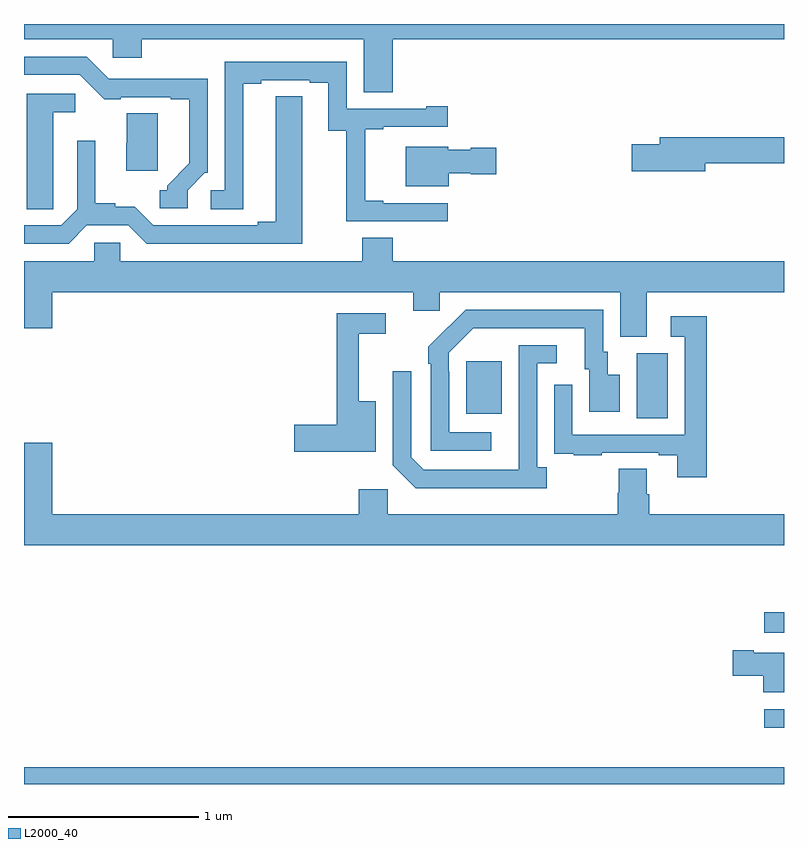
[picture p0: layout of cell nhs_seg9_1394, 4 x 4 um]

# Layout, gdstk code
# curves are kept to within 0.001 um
import gdstk
lib = gdstk.Library(unit=1e-6, precision=1e-09)
def R(c, l, rs):  # rectangles x0, y0, x1, y1
    for r in rs: c.add(gdstk.rectangle(r[:2], r[2:], *l))
def P(c, l, *ps):  # polygons
    for p in ps: c.add(gdstk.Polygon(p, *l))
L2000_40 = (2000, 40)

nhs_seg9_1394 = lib.new_cell('nhs_seg9_1394')
R(nhs_seg9_1394, L2000_40, [(189,1192.5,193,1192.588), (192.897,1192.797,193,1192.893), (192.897,1193.295,193,1193.404), (192.224,1194.424,192.388,1194.768), (191.327,1194.449,191.515,1194.724)])
P(nhs_seg9_1394, L2000_40, [(189,1196.42),(189.468,1196.42),(189.468,1196.322),(189.62,1196.322),(189.62,1196.42),(190.787,1196.42),(190.787,1196.14),(190.94,1196.14),(190.94,1196.42),(193,1196.42),(193,1196.5),(189,1196.5)],
  [(189.861,1195.626),(189.951,1195.716),(189.966,1195.716),(189.966,1196.213),(189.703,1196.213),(189.703,1196.211),(189.447,1196.211),(189.33,1196.328),(189,1196.328),(189,1196.232),(189.294,1196.232),(189.422,1196.104),(189.508,1196.104),(189.508,1196.115),(189.773,1196.115),(189.773,1196.103),(189.869,1196.103),(189.869,1195.766),(189.753,1195.65),(189.753,1195.626),(189.714,1195.626),(189.714,1195.53),(189.861,1195.53)],
  [(191.23,1195.557),(190.891,1195.557),(190.891,1195.57),(190.796,1195.57),(190.796,1195.947),(190.891,1195.947),(190.891,1195.959),(191.23,1195.959),(191.23,1196.068),(191.117,1196.068),(191.117,1196.055),(190.698,1196.055),(190.698,1196.301),(190.056,1196.301),(190.056,1195.626),(189.984,1195.626),(189.984,1195.525),(190.153,1195.525),(190.153,1196.185),(190.249,1196.185),(190.249,1196.205),(190.505,1196.205),(190.505,1196.19),(190.601,1196.19),(190.601,1195.939),(190.696,1195.939),(190.696,1195.461),(191.23,1195.461)],
  [(189.153,1195.633),(189.154,1195.633),(189.154,1196.036),(189.271,1196.036),(189.271,1196.133),(189.014,1196.133),(189.014,1195.525),(189.153,1195.525)],
  [(189.331,1195.44),(189.549,1195.44),(189.645,1195.344),(190.465,1195.344),(190.464,1196.12),(190.325,1196.12),(190.325,1195.46),(190.229,1195.46),(190.229,1195.44),(189.681,1195.44),(189.584,1195.538),(189.48,1195.538),(189.48,1195.556),(189.376,1195.556),(189.376,1195.885),(189.279,1195.885),(189.279,1195.524),(189.195,1195.44),(189,1195.44),(189,1195.344),(189.235,1195.344)],
  [(189.703,1196.03),(189.541,1196.03),(189.541,1195.872),(189.539,1195.872),(189.539,1195.728),(189.703,1195.728)],
  [(192.586,1195.768),(193,1195.768),(193,1195.904),(192.347,1195.904),(192.347,1195.868),(192.198,1195.868),(192.198,1195.726),(192.586,1195.726)],
  [(191.236,1195.715),(191.352,1195.715),(191.352,1195.708),(191.485,1195.708),(191.485,1195.85),(191.352,1195.85),(191.352,1195.837),(191.232,1195.837),(191.232,1195.855),(191.009,1195.855),(191.009,1195.646),(191.236,1195.646)],
  [(192.277,1195.088),(193,1195.088),(193,1195.252),(190.94,1195.252),(190.94,1195.376),(190.78,1195.376),(190.78,1195.252),(189.507,1195.252),(189.507,1195.35),(189.369,1195.35),(189.369,1195.252),(189,1195.252),(189,1194.9),(189.148,1194.9),(189.148,1195.088),(191.048,1195.088),(191.048,1194.99),(191.187,1194.99),(191.187,1195.088),(192.137,1195.088),(192.137,1194.853),(192.277,1194.853)],
  [(191.458,1194.351),(191.238,1194.351),(191.238,1194.671),(191.235,1194.671),(191.235,1194.771),(191.364,1194.9),(191.951,1194.9),(191.951,1194.684),(191.975,1194.684),(191.975,1194.459),(192.136,1194.459),(192.136,1194.655),(192.073,1194.655),(192.073,1194.774),(192.048,1194.774),(192.048,1194.996),(191.324,1194.996),(191.127,1194.801),(191.127,1194.713),(191.142,1194.713),(191.142,1194.255),(191.458,1194.255)],
  [(190.852,1194.514),(190.763,1194.514),(190.763,1194.87),(190.903,1194.87),(190.903,1194.978),(190.645,1194.978),(190.645,1194.392),(190.422,1194.392),(190.422,1194.25),(190.852,1194.25)],
  [(192.593,1194.961),(192.405,1194.961),(192.405,1194.855),(192.477,1194.855),(192.477,1194.339),(191.886,1194.339),(191.886,1194.601),(191.79,1194.601),(191.79,1194.346),(191.791,1194.346),(191.791,1194.237),(191.893,1194.237),(191.893,1194.231),(192.041,1194.231),(192.041,1194.243),(192.341,1194.243),(192.341,1194.231),(192.437,1194.231),(192.437,1194.114),(192.593,1194.114)],
  [(191.752,1194.166),(191.7,1194.166),(191.7,1194.714),(191.803,1194.714),(191.803,1194.81),(191.604,1194.81),(191.603,1194.153),(191.103,1194.153),(191.037,1194.219),(191.037,1194.673),(190.941,1194.673),(190.941,1194.177),(191.062,1194.056),(191.752,1194.056)],
  [(193,1193.92),(192.29,1193.92),(192.29,1194.026),(192.277,1194.026),(192.277,1194.158),(192.13,1194.158),(192.13,1194.033),(192.125,1194.033),(192.125,1193.92),(190.914,1193.92),(190.914,1194.052),(190.763,1194.052),(190.763,1193.92),(189.148,1193.92),(189.148,1194.295),(189,1194.295),(189,1193.756),(193,1193.756)],
  [(193,1193.191),(192.841,1193.191),(192.841,1193.204),(192.729,1193.204),(192.729,1193.069),(192.89,1193.069),(192.89,1192.982),(193,1192.982)])

lib.write_gds('nhs_seg9_1394.gds')
